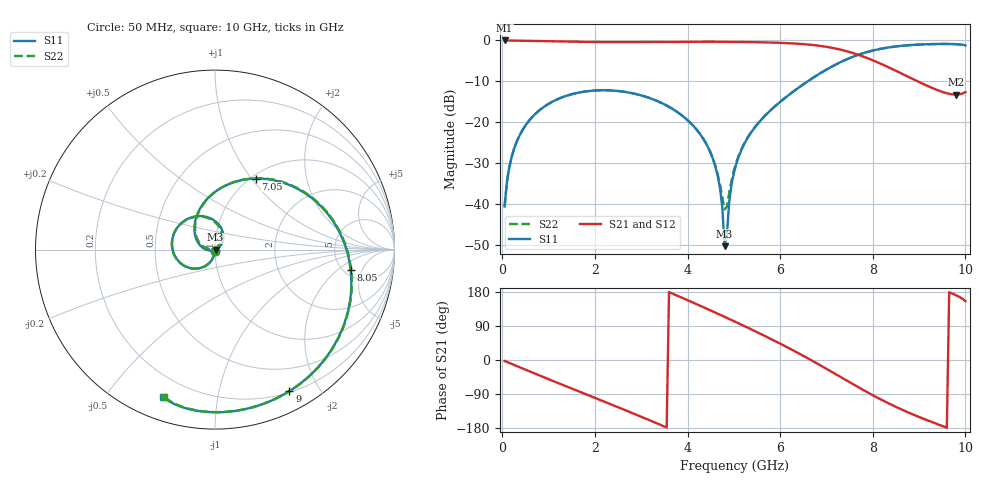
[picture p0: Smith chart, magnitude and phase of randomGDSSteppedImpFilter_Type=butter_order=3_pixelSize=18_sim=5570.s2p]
! freq	dB(S11)	phase(S11)	dB(S12)	phase(S12)
!  dB(S21)	phase(S21)	dB(S22)	phase(S22)
!S-par simulation data
#  GHz  S  DB  R 50
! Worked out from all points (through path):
!   200 points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, 50 MHz to 10 GHz, reference 50 ohm
!   highest |S21| = 0.00 dB at 50 MHz (marker M1); lowest = -13.3 dB at 9.8 GHz (marker M2)
!   group delay of S21, straight-line fit = 160 ps
!   lowest |S11| = -50.4 dB at 4.8 GHz (marker M3), VSWR 1.01, Z = 50.3 - j0.0818 ohm
!   |S11| at or under -10 dB: start of sweep to 6.598 GHz
!   |S22| runs from -41.4 to -0.9 dB; largest |S21 - S12| = 0
!   S11 on the Smith chart (normalised r, x): 50 MHz: 1.00, -0.02; 7.05 GHz: 1.05, +1.05; 8.05 GHz: 5.76, -3.11; 9 GHz: 0.21, -1.63; 10 GHz: 0.10, -0.70
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0.05  -40.68 -92.4  -0.00 -2.6  -0.00 -2.6  -40.68 -92.4
0.2  -28.63 -100.7  -0.03 -10.3  -0.03 -10.3  -28.63 -100.6
0.5  -20.84 -116.1  -0.07 -25.5  -0.07 -25.5  -20.84 -115.9
1.15  -14.62 -149.0  -0.22 -58.1  -0.22 -58.1  -14.62 -148.6
1.75  -12.57 -178.7  -0.35 -87.7  -0.35 -87.7  -12.57 -178.1
2.5  -12.39 144.1  -0.41 -124.6  -0.41 -124.6  -12.39 145.2
3.4  -15.11 98.0  -0.35 -170.3  -0.35 -170.3  -15.12 100.4
4.5  -27.62 37.0  -0.32 130.7  -0.32 130.7  -27.52 49.8
4.7  -36.11 22.9  -0.33 119.6  -0.33 119.6  -35.24 55.7
4.75  -40.74 16.6  -0.33 116.7  -0.33 116.7  -38.43 68.0
4.8  -50.40 -15.6  -0.33 113.9  -0.33 113.9  -41.39 96.8
4.95  -35.33 -163.0  -0.35 105.5  -0.35 105.5  -34.33 168.6
5.05  -30.36 -170.5  -0.36 99.8  -0.36 99.8  -29.98 173.0
5.8  -17.04 142.7  -0.51 55.5  -0.51 55.5  -17.01 140.1
6.7  -9.23 84.3  -1.11 -2.5  -1.11 -2.5  -9.23 84.4
7.05  -6.82 60.2  -1.66 -26.7  -1.66 -26.7  -6.82 60.7
7.55  -4.09 25.2  -3.01 -62.2  -3.01 -62.2  -4.09 25.9
8.05  -2.34 -8.5  -5.10 -96.2  -5.10 -96.2  -2.34 -7.6
8.35  -1.70 -27.0  -6.63 -114.9  -6.63 -114.9  -1.70 -26.1
9  -1.00 -62.3  -10.19 -150.4  -10.19 -150.4  -1.01 -61.4
9.8  -0.91 -99.6  -13.27 170.9  -13.27 170.9  -0.92 -98.9
10  -1.21 -109.6  -12.66 155.1  -12.66 155.1  -1.23 -109.2
